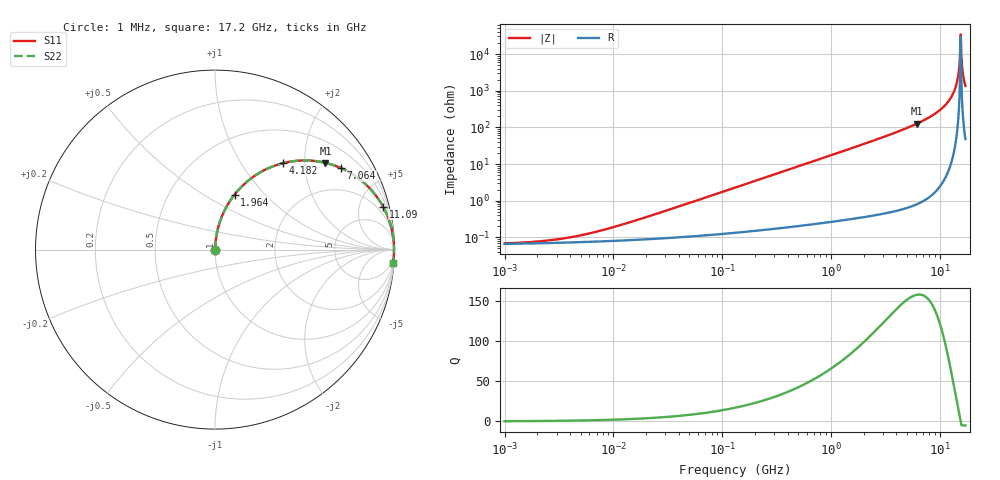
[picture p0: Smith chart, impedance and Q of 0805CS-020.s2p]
# MHz S MA R 50
!Freq  MagS11  AngS11  MagS21  AngS21  MagS12  AngS12  MagS22  AngS22
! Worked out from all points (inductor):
!   801 points, 1 MHz to 17.2 GHz, reference 50 ohm
!   read as one part in series: L = 2.75 nH near 14.79 MHz
!   highest Q = 158 at 6.177 GHz (marker M1), where L = 3.26 nH
!   self-resonance near 15.41 GHz
!   S11 on the Smith chart (normalised r, x): 1 MHz: 1.00, +0.00; 1.964 GHz: 1.01, +0.69; 4.182 GHz: 1.01, +1.56; 7.064 GHz: 1.02, +3.07; 11.09 GHz: 1.08, +7.78; 17.2 GHz: 2, -27
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1  0.0006857 14.6  0.9993 -0.0  0.9993 -0.0  0.0006857 14.6
2.434961  0.000816 31.0  0.9993 -0.0  0.9993 -0.0  0.000816 31.0
5.122135  0.001156 49.9  0.9993 -0.1  0.9993 -0.1  0.001156 49.9
25.91837  0.004569 78.1  0.9991 -0.3  0.9991 -0.3  0.004569 78.1
131.1488  0.02267 85.3  0.9984 -1.3  0.9984 -1.3  0.02267 85.3
671.7617  0.1153 82.3  0.9911 -6.6  0.9911 -6.6  0.1153 82.3
1963.918  0.325 70.4  0.9424 -19.0  0.9424 -19.0  0.325 70.4
3399.162  0.5231 58.0  0.8482 -31.5  0.8482 -31.5  0.5231 58.0
4181.931  0.6124 51.8  0.7863 -37.8  0.7863 -37.8  0.6124 51.8
6177.29  0.7825 38.1  0.6177 -51.5  0.6177 -51.5  0.7825 38.1
7063.769  0.8358 32.9  0.5438 -56.7  0.5438 -56.7  0.8358 32.9
9124.711  0.9208 22.5  0.3834 -67.0  0.3834 -67.0  0.9208 22.5
11089.95  0.9662 14.4  0.2484 -75.0  0.2484 -75.0  0.9662 14.4
12527.77  0.9847 9.2  0.1604 -79.9  0.1604 -79.9  0.9847 9.2
13643.78  0.9928 5.6  0.09774 -83.0  0.09774 -83.0  0.9928 5.6
14325.58  0.9957 3.5  0.06173 -84.2  0.06173 -84.2  0.9957 3.5
15041.46  0.9972 1.5  0.02568 -83.1  0.02568 -83.1  0.9972 1.5
15412.7  0.9975 0.4  0.007883 -71.3  0.007883 -71.3  0.9975 0.4
15986.82  0.9973 -1.1  0.01979 81.6  0.01979 81.6  0.9973 -1.1
16182.9  0.9971 -1.6  0.02878 83.3  0.02878 83.3  0.9971 -1.6
16785.71  0.9959 -3.2  0.05582 84.2  0.05582 84.2  0.9959 -3.2
17200  0.9946 -4.2  0.07383 83.7  0.07383 83.7  0.9946 -4.2
